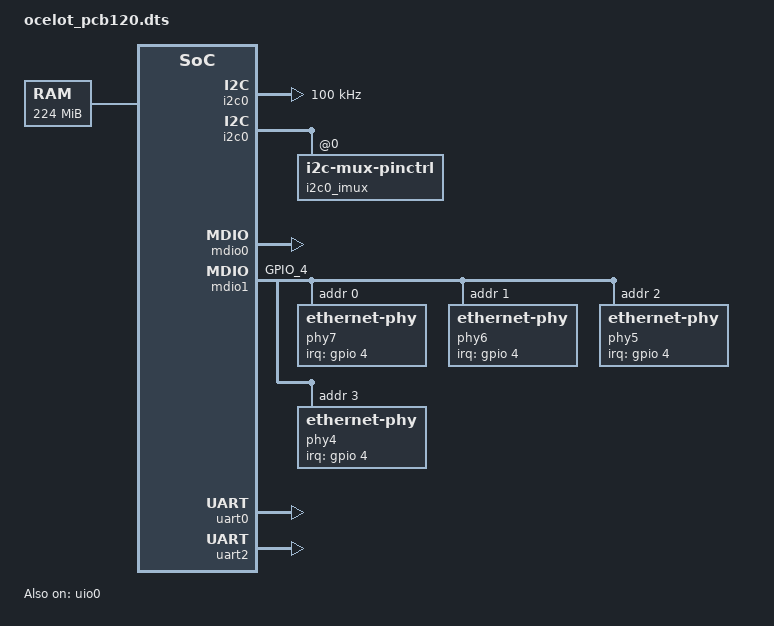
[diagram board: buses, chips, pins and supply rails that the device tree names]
// SPDX-License-Identifier: (GPL-2.0 OR MIT)
/* Copyright (c) 2017 Microsemi Corporation */

/dts-v1/;

#include <dt-bindings/interrupt-controller/irq.h>
#include <dt-bindings/phy/phy-ocelot-serdes.h>
#include "ocelot.dtsi"

/ {
	compatible = "mscc,ocelot-pcb120", "mscc,ocelot";

	chosen {
		stdout-path = "serial0:115200n8";
	};

	aliases {
	    i2c0   = &i2c0;
	    i2c108 = &i2c108;
	    i2c109 = &i2c109;
	    i2c201 = &i2c201;
	};

	memory@0 {
		device_type = "memory";
		reg = <0x0 0x0e000000>;
	};
};

&gpio {
	i2c_pins: i2c-pins {
		pins = "GPIO_16";
		function = "twi";
	};
	i2cmux_pins_i: i2cmux-pins-i {
		pins = "GPIO_20", "GPIO_21", "GPIO_17";
		function = "twi_scl_m";
		output-low;
	};
	i2cmux_0: i2cmux-0 {
		pins = "GPIO_20";
		function = "twi_scl_m";
		output-high;
	};
	i2cmux_1: i2cmux-1 {
		pins = "GPIO_21";
		function = "twi_scl_m";
		output-high;
	};
	i2cmux_2: i2cmux-2 {
		pins = "GPIO_17";
		function = "twi_scl_m";
		output-high;
	};
	phy_int_pins: phy_int_pins {
		pins = "GPIO_4";
		function = "gpio";
	};
};

&i2c0 {
	clock-frequency = <100000>;
	i2c-sda-hold-time-ns = <300>;
	status = "okay";
};

&ahb {
	i2c0_imux: i2c0-imux@0 {
		compatible = "i2c-mux-pinctrl";
		#address-cells = <1>;
		#size-cells = <0>;
		i2c-parent = <&i2c0>;
		pinctrl-names =
			"i2c108", "i2c109", "i2c201", "idle";
		pinctrl-0 = <&i2cmux_0>;
		pinctrl-1 = <&i2cmux_1>;
		pinctrl-2 = <&i2cmux_2>;
		pinctrl-3 = <&i2cmux_pins_i>;
		i2c108: i2c_sfp1 {
			reg = <0>;
			#address-cells = <1>;
			#size-cells = <0>;
		};
		i2c109: i2c_sfp2 {
			reg = <1>;
			#address-cells = <1>;
			#size-cells = <0>;
		};
		i2c201: i2c_pd69xxx {
			reg = <0x2>;
			#address-cells = <1>;
			#size-cells = <0>;
		};
	};
};

&mdio0 {
	status = "okay";
};

&mdio1 {
	status = "okay";
	pinctrl-names = "default";
	pinctrl-0 = <&miim1>, <&phy_int_pins>;

	phy7: ethernet-phy@0 {
		reg = <0>;
		interrupts = <4 IRQ_TYPE_LEVEL_HIGH>;
		interrupt-parent = <&gpio>;
	};
	phy6: ethernet-phy@1 {
		reg = <1>;
		interrupts = <4 IRQ_TYPE_LEVEL_HIGH>;
		interrupt-parent = <&gpio>;
	};
	phy5: ethernet-phy@2 {
		reg = <2>;
		interrupts = <4 IRQ_TYPE_LEVEL_HIGH>;
		interrupt-parent = <&gpio>;
	};
	phy4: ethernet-phy@3 {
		reg = <3>;
		interrupts = <4 IRQ_TYPE_LEVEL_HIGH>;
		interrupt-parent = <&gpio>;
	};
};

&port0 {
	phy-handle = <&phy0>;
};

&port1 {
	phy-handle = <&phy1>;
};

&port2 {
	phy-handle = <&phy2>;
};

&port3 {
	phy-handle = <&phy3>;
};

&port4 {
	phy-handle = <&phy7>;
	phy-mode = "sgmii";
	phys = <&serdes 4 SERDES1G(2)>;
};

&port5 {
	phy-handle = <&phy4>;
	phy-mode = "sgmii";
	phys = <&serdes 5 SERDES1G(5)>;
};

&port6 {
	phy-handle = <&phy6>;
	phy-mode = "sgmii";
	phys = <&serdes 6 SERDES1G(3)>;
};

&port9 {
	phy-handle = <&phy5>;
	phy-mode = "sgmii";
	phys = <&serdes 9 SERDES1G(4)>;
};

&uart0 {
	status = "okay";
};

&uart2 {
	status = "okay";
};

&uio0 {
	status = "okay";
};
